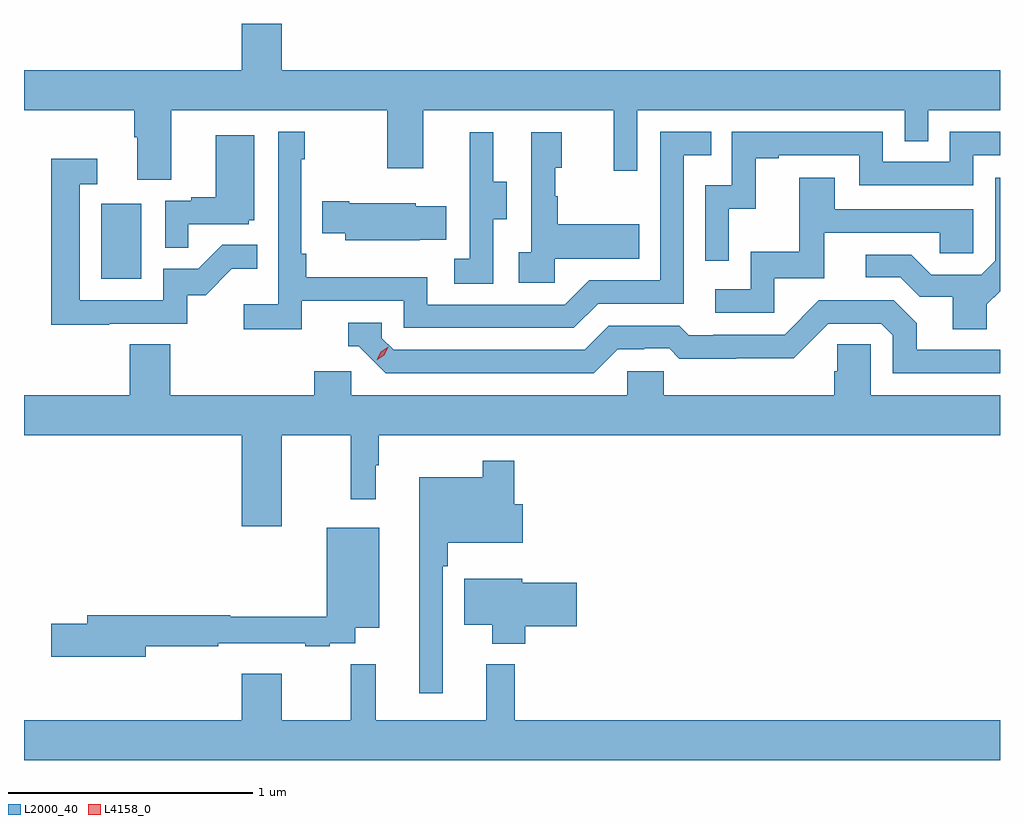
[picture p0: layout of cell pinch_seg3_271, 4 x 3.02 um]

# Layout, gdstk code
import gdstk
lib = gdstk.Library(unit=1e-6, precision=1e-09)
def R(c, l, rs):  # rectangles x0, y0, x1, y1
    for r in rs: c.add(gdstk.rectangle(r[:2], r[2:], *l))
def P(c, l, *ps):  # polygons
    for p in ps: c.add(gdstk.Polygon(p, *l))
L2000_40 = (2000, 40)
L4158_0 = (4158, 0)

pinch_seg3_271 = lib.new_cell('pinch_seg3_271')
R(pinch_seg3_271, L2000_40, [(895.7,717.54,895.864,717.847)])
P(pinch_seg3_271, L2000_40, [(895.987,718.232),(896.872,718.232),(896.872,717.993),(897.019,717.993),(897.019,718.232),(897.8,718.232),(897.8,717.984),(897.897,717.984),(897.897,718.232),(898.992,718.232),(898.992,718.105),(899.088,718.105),(899.088,718.232),(899.383,718.232),(899.383,718.396),(896.44,718.396),(896.44,718.585),(896.276,718.585),(896.276,718.396),(895.383,718.396),(895.383,718.232),(895.835,718.232),(895.835,718.12),(895.847,718.12),(895.847,717.946),(895.987,717.946)],
  [(896.522,717.45),(896.94,717.45),(896.94,717.339),(897.637,717.339),(897.736,717.438),(898.086,717.438),(898.086,718.047),(898.199,718.047),(898.199,718.143),(897.99,718.143),(897.99,717.534),(897.699,717.534),(897.6,717.435),(897.036,717.435),(897.036,717.547),(896.54,717.547),(896.54,717.643),(896.52,717.643),(896.52,718.031),(896.533,718.031),(896.533,718.144),(896.424,718.144),(896.424,717.436),(896.283,717.436),(896.283,717.334),(896.522,717.334)],
  [(898.272,717.827),(898.382,717.827),(898.382,718.035),(898.477,718.035),(898.477,718.047),(898.806,718.047),(898.806,717.924),(899.274,717.924),(899.274,718.047),(899.383,718.047),(899.383,718.143),(899.178,718.143),(899.178,718.02),(898.902,718.02),(898.902,718.143),(898.284,718.143),(898.284,717.924),(898.176,717.924),(898.176,717.615),(898.272,717.615)],
  [(897.558,717.623),(897.905,717.623),(897.905,717.763),(897.571,717.763),(897.571,717.878),(897.561,717.878),(897.561,717.996),(897.586,717.996),(897.586,718.141),(897.462,718.141),(897.462,717.65),(897.411,717.65),(897.411,717.525),(897.558,717.525)],
  [(897.306,717.784),(897.361,717.784),(897.361,717.939),(897.307,717.939),(897.307,718.141),(897.209,718.141),(897.209,717.927),(897.21,717.927),(897.21,717.623),(897.147,717.623),(897.147,717.52),(897.306,717.52)],
  [(896.057,717.765),(896.304,717.765),(896.304,717.78),(896.326,717.78),(896.326,718.129),(896.168,718.129),(896.168,717.874),(896.069,717.874),(896.069,717.861),(895.962,717.861),(895.962,717.667),(896.057,717.667)],
  [(895.733,717.357),(896.052,717.357),(896.052,717.474),(896.128,717.474),(896.235,717.581),(896.339,717.581),(896.339,717.68),(896.195,717.68),(896.097,717.582),(895.953,717.582),(895.953,717.453),(895.611,717.453),(895.611,717.927),(895.684,717.927),(895.684,718.033),(895.495,718.033),(895.495,717.352),(895.733,717.352)],
  [(898.458,717.543),(898.663,717.543),(898.663,717.729),(899.137,717.729),(899.137,717.645),(899.274,717.645),(899.274,717.825),(898.705,717.825),(898.705,717.955),(898.561,717.955),(898.561,717.652),(898.362,717.652),(898.362,717.498),(898.215,717.498),(898.215,717.402),(898.458,717.402)],
  [(899.329,717.436),(899.383,717.49),(899.383,717.955),(899.364,717.955),(899.364,717.615),(899.307,717.558),(899.101,717.558),(899.02,717.639),(898.833,717.639),(898.833,717.546),(898.974,717.546),(899.054,717.466),(899.189,717.466),(899.189,717.334),(899.329,717.334)],
  [(897.005,717.701),(897.113,717.701),(897.113,717.838),(896.988,717.838),(896.988,717.85),(896.716,717.85),(896.716,717.858),(896.605,717.858),(896.605,717.728),(896.699,717.728),(896.699,717.698),(897.005,717.698)],
  [(897.817,717.252),(897.924,717.252),(897.924,717.255),(898.027,717.255),(898.069,717.213),(898.302,717.213),(898.302,717.215),(898.538,717.215),(898.68,717.357),(898.896,717.357),(898.944,717.309),(898.944,717.153),(899.383,717.153),(899.383,717.249),(899.041,717.249),(899.041,717.359),(898.947,717.453),(898.641,717.453),(898.5,717.312),(898.207,717.312),(898.207,717.309),(898.108,717.309),(898.069,717.348),(897.78,717.348),(897.681,717.249),(896.898,717.249),(896.85,717.297),(896.85,717.36),(896.711,717.36),(896.711,717.264),(896.754,717.264),(896.865,717.153),(897.718,717.153)],
  [(896.44,716.9),(896.722,716.9),(896.722,716.637),(896.824,716.637),(896.824,716.777),(896.836,716.777),(896.836,716.9),(899.383,716.9),(899.383,717.064),(898.854,717.064),(898.854,717.272),(898.717,717.272),(898.717,717.162),(898.703,717.162),(898.703,717.064),(898.005,717.064),(898.005,717.162),(897.855,717.162),(897.855,717.064),(896.724,717.064),(896.724,717.162),(896.573,717.162),(896.573,717.064),(895.982,717.064),(895.982,717.272),(895.817,717.272),(895.817,717.064),(895.383,717.064),(895.383,716.9),(896.276,716.9),(896.276,716.526),(896.44,716.526)],
  [(897.099,716.363),(897.119,716.363),(897.119,716.459),(897.427,716.459),(897.427,716.617),(897.392,716.617),(897.392,716.794),(897.264,716.794),(897.264,716.728),(897.002,716.728),(897.002,715.842),(897.099,715.842)],
  [(895.882,716.034),(896.18,716.034),(896.18,716.046),(896.536,716.046),(896.536,716.034),(896.636,716.034),(896.636,716.046),(896.74,716.046),(896.74,716.111),(896.839,716.111),(896.839,716.521),(896.624,716.521),(896.624,716.155),(896.228,716.155),(896.228,716.162),(895.643,716.162),(895.643,716.126),(895.494,716.126),(895.494,715.991),(895.882,715.991)],
  [(897.437,716.116),(897.649,716.116),(897.649,716.294),(897.424,716.294),(897.424,716.311),(897.188,716.311),(897.188,716.123),(897.302,716.123),(897.302,716.045),(897.437,716.045)],
  [(899.383,715.732),(897.395,715.732),(897.395,715.96),(897.278,715.96),(897.278,715.732),(896.825,715.732),(896.825,715.961),(896.722,715.961),(896.722,715.732),(896.44,715.732),(896.44,715.921),(896.276,715.921),(896.276,715.732),(895.383,715.732),(895.383,715.568),(899.383,715.568)])
P(pinch_seg3_271, L4158_0, [(896.829,717.208),(896.829,717.209),(896.845,717.241),(896.876,717.261),(896.876,717.261),(896.876,717.26),(896.86,717.228),(896.83,717.208)])

lib.write_gds('pinch_seg3_271.gds')
